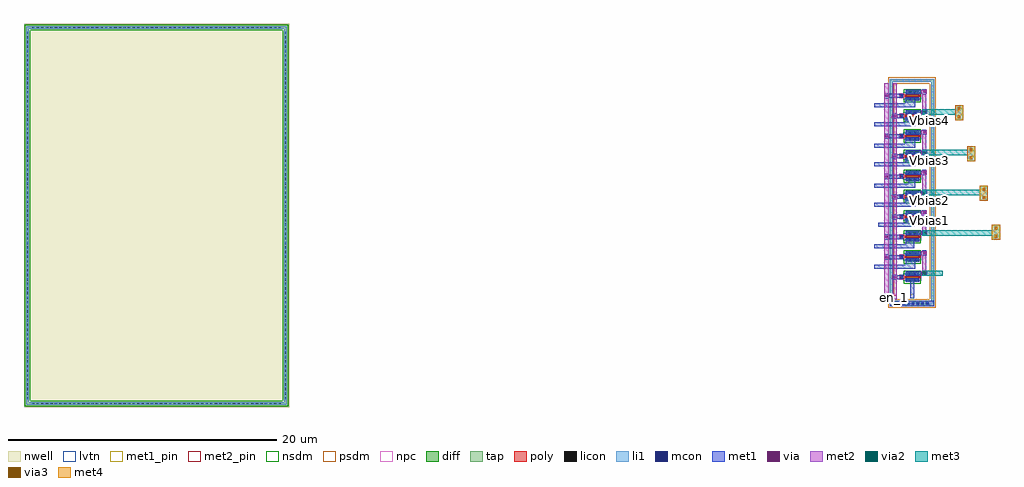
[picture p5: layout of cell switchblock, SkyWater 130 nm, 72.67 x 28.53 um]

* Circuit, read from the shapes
.subckt switchblock Vbias1 Vbias2 Vbias3 Vbias4 beta en_1 en_2
XM1 n1 en_1 beta VSUBS sky130_fd_pr__nfet_01v8_lvt w=1 l=0.15
XM2 n1 en_2 n2 VSUBS sky130_fd_pr__nfet_01v8_lvt w=1 l=0.15
XM3 n3 en_2 n4 VSUBS sky130_fd_pr__nfet_01v8_lvt w=1 l=0.15
XM4 n3 en_1 Vbias1 VSUBS sky130_fd_pr__nfet_01v8_lvt w=1 l=0.15
XM5 n5 en_1 Vbias2 VSUBS sky130_fd_pr__nfet_01v8_lvt w=1 l=0.15
XM6 n5 en_2 n6 VSUBS sky130_fd_pr__nfet_01v8_lvt w=1 l=0.15
XM7 n7 en_1 Vbias3 VSUBS sky130_fd_pr__nfet_01v8_lvt w=1 l=0.15
XM8 n7 en_2 n8 VSUBS sky130_fd_pr__nfet_01v8_lvt w=1 l=0.15
XM9 n9 en_1 Vbias4 VSUBS sky130_fd_pr__nfet_01v8_lvt w=1 l=0.15
XM10 n9 en_2 n10 VSUBS sky130_fd_pr__nfet_01v8_lvt w=1 l=0.15
.ends

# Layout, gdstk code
from math import pi, radians
import gdstk
lib = gdstk.Library(unit=1e-6, precision=1e-09)
def R(c, l, rs):  # rectangles x0, y0, x1, y1
    for r in rs: c.add(gdstk.rectangle(r[:2], r[2:], *l))
def A(c, l, x, y, w, h, nx, ny, dx, dy):  # array of equal rectangles
    R(c, l, [(x+i*dx, y+j*dy, x+i*dx+w, y+j*dy+h) for i in range(nx) for j in range(ny)])
nwell = (64, 20)
diff = (65, 20)
tap = (65, 44)
poly = (66, 20)
licon = (66, 44)
li1 = (67, 20)
mcon = (67, 44)
met1_pin = (68, 16)
met1 = (68, 20)
via = (68, 44)
met2_pin = (69, 16)
met2 = (69, 20)
via2 = (69, 44)
met3 = (70, 20)
via3 = (70, 44)
met4 = (71, 20)
nsdm = (93, 44)
psdm = (94, 20)
npc = (95, 20)
lvtn = (125, 44)

sky130_fd_pr__nfet_01v8_ = lib.new_cell('sky130_fd_pr__nfet_01v8_lvt_6DE3T6')
R(sky130_fd_pr__nfet_01v8_, diff, [(-0.365,-0.655,0.365,0.345)])
R(sky130_fd_pr__nfet_01v8_, poly, [(-0.075,-0.785,0.075,0.455), (-0.165,0.455,0.165,0.785)])
A(sky130_fd_pr__nfet_01v8_, licon, -0.305, -0.58, 0.17, 0.17, 1, 3, 0, 0.34)
A(sky130_fd_pr__nfet_01v8_, licon, 0.135, -0.58, 0.17, 0.17, 1, 3, 0, 0.34)
R(sky130_fd_pr__nfet_01v8_, licon, [(-0.085,0.535,0.085,0.705)])
R(sky130_fd_pr__nfet_01v8_, li1, [(-0.305,-0.675,-0.135,0.365), (0.135,-0.675,0.305,0.365), (-0.165,0.535,0.165,0.705)])
R(sky130_fd_pr__nfet_01v8_, mcon, [(-0.305,-0.42,-0.135,-0.25), (0.135,-0.42,0.305,-0.25), (-0.305,-0.06,-0.135,0.11), (0.135,-0.06,0.305,0.11), (-0.085,0.535,0.085,0.705)])
R(sky130_fd_pr__nfet_01v8_, met1, [(-0.335,-0.655,-0.105,0.345), (0.105,-0.655,0.335,0.345), (-0.145,0.505,0.145,0.735)])
R(sky130_fd_pr__nfet_01v8_, nsdm, [(-0.49,-0.78,0.49,0.47)])
R(sky130_fd_pr__nfet_01v8_, npc, [(-0.185,0.435,0.185,0.805)])
R(sky130_fd_pr__nfet_01v8_, lvtn, [(-0.255,-0.835,0.255,0.525)])

switchblock = lib.new_cell('switchblock')
R(switchblock, nwell, [(-64.965,-22.915,-45.235,5.615)])
R(switchblock, tap, [(-64.785,-22.735,-45.415,-22.565), (-64.785,-22.565,-64.615,5.265), (-45.585,-22.565,-45.415,5.265), (-0.5,-15.4,2.8,-15), (-0.5,-15,-0.3,1.3), (2.6,-15,2.8,1.3), (-0.5,1.3,2.8,1.5), (-64.785,5.265,-45.415,5.435)])
A(switchblock, licon, -64.365, -22.735, 0.17, 0.17, 55, 2, 0.34, 28)
A(switchblock, licon, -64.785, -22.335, 0.17, 0.17, 1, 81, 0, 0.34)
A(switchblock, licon, -45.585, -22.335, 0.17, 0.17, 1, 81, 0, 0.34)
A(switchblock, licon, -0.225, -15.285, 0.17, 0.17, 8, 1, 0.34, 0)
R(switchblock, li1, [(-64.785,-22.735,-45.415,-22.565), (-64.785,-22.565,-64.615,5.265), (-45.585,-22.565,-45.415,5.265), (-0.5,-15.4,2.8,-15), (-0.5,-15,-0.3,1.3), (2.6,-15,2.8,1.3), (-0.5,1.3,2.8,1.5), (-64.785,5.265,-45.415,5.435)])
A(switchblock, mcon, -0.295, -15.285, 0.17, 0.17, 8, 1, 0.36, 0)
A(switchblock, met1_pin, 2.3, -7.7, 0.3, 0.3, 1, 3, 0, 3)
R(switchblock, met1_pin, [(1,-14.8,1.3,-14.5), (2.3,-9.2,2.6,-8.9)])
A(switchblock, met1, 0.7, -13.1, 1.5, 0.3, 1, 10, 0, 1.5)
A(switchblock, met1, 0.65, -7.7, 1.95, 0.3, 1, 3, 0, 3)
A(switchblock, met1, -0.3, -7.4, 0.8, 0.3, 1, 3, 0, 3)
A(switchblock, met1, -0.9, -5.9, 1.4, 0.3, 1, 3, 0, 3)
R(switchblock, met1, [(-0.5,-15.4,2.8,-15), (1,-14.8,1.3,-13.4), (-0.3,-13.45,0,-13.4), (-0.3,-13.4,0.5,-13.1), (1.9,-13.15,2.2,-13.1), (-0.3,-13.1,0,-13.05), (1.9,-12.8,2.2,-12.75), (-1.65,-12.6,1.4,-12.3), (0.7,-12.3,1.4,-11.9), (-0.9,-11.95,-0.6,-11.9), (-0.9,-11.9,0.5,-11.6), (1.9,-11.65,2.2,-11.6), (-0.9,-11.6,-0.6,-11.55), (1.9,-11.3,2.2,-11.25), (-1.65,-11.1,1.3,-10.8), (0.7,-10.8,1.3,-10.4), (-0.9,-10.45,-0.6,-10.4), (-0.9,-10.4,0.5,-10.1), (1.9,-10.15,2.2,-10.1), (-0.9,-10.1,-0.6,-10.05), (1.9,-9.8,2.2,-9.75), (-1.35,-9.5,1.35,-9.2), (0.65,-9.2,2.6,-8.9), (-0.3,-8.95,0,-8.9), (-0.3,-8.9,0.5,-8.6), (0.65,-8.9,0.95,-8.85), (1.9,-8.65,2.2,-8.6), (-0.3,-8.6,0,-8.55), (1.9,-8.3,2.2,-8.25), (-1.65,-8,1.4,-7.7), (-0.3,-7.45,0,-7.4), (0.65,-7.4,1,-7.35), (1.9,-7.15,2.2,-7.1), (-0.3,-7.1,0,-7.05), (1.9,-6.8,2.2,-6.75), (-1.65,-6.6,1.4,-6.3), (0.9,-6.3,1.4,-5.9), (-0.9,-5.95,-0.6,-5.9), (1.9,-5.65,2.2,-5.6), (-0.9,-5.6,-0.6,-5.55), (1.9,-5.3,2.2,-5.25), (-1.65,-5,1.4,-4.7), (-0.3,-4.45,0,-4.4), (0.65,-4.4,0.8,-4.35), (1.9,-4.15,2.2,-4.1), (-0.3,-4.1,0,-4.05), (1.9,-3.8,2.2,-3.75), (-1.65,-3.6,1.4,-3.3), (0.65,-3.3,1.4,-2.9), (-0.9,-2.95,-0.6,-2.9), (0.65,-2.9,0.9,-2.85), (1.9,-2.65,2.2,-2.6), (-0.9,-2.6,-0.6,-2.55), (1.9,-2.3,2.2,-2.25), (-1.65,-2,1.4,-1.7), (-0.3,-1.45,0,-1.4), (0.65,-1.4,1.4,-1.35), (1.9,-1.15,2.2,-1.1), (-0.3,-1.1,0,-1.05), (1.9,-0.8,2.2,-0.75), (-1.65,-0.6,1.4,-0.3), (0.65,-0.3,1.4,0.15), (-0.9,0.05,-0.6,0.1), (1.9,0.35,2.2,0.4), (-0.9,0.4,-0.6,0.45), (1.9,0.7,2.2,0.75)])
A(switchblock, via, 1.975, -13.025, 0.15, 0.15, 1, 10, 0, 1.5)
A(switchblock, via, -0.225, -7.325, 0.15, 0.15, 1, 3, 0, 3)
A(switchblock, via, -0.825, -5.825, 0.15, 0.15, 1, 3, 0, 3)
R(switchblock, via, [(-0.225,-13.325,-0.075,-13.175), (-0.825,-11.825,-0.675,-11.675), (-0.825,-10.325,-0.675,-10.175), (-0.225,-8.825,-0.075,-8.675)])
R(switchblock, met2_pin, [(-0.9,-14.9,-0.6,-14.6), (-0.3,-14.9,0,-14.6)])
A(switchblock, met2, 1.85, -13.1, 0.45, 0.3, 1, 5, 0, 3)
A(switchblock, met2, 1.9, -12.75, 0.3, 1.15, 1, 5, 0, 3)
A(switchblock, met2, 1.85, -11.6, 0.4, 0.3, 1, 5, 0, 3)
A(switchblock, met2, -0.35, -7.4, 0.4, 0.3, 1, 3, 0, 3)
A(switchblock, met2, -0.9, -5.9, 0.35, 0.3, 1, 3, 0, 3)
R(switchblock, met2, [(-0.9,-14.9,-0.6,-11.9), (-0.3,-14.9,0,-13.4), (-0.35,-13.4,0.05,-13.1), (1.9,-13.15,2.3,-13.1), (-0.3,-13.1,0,-8.9), (1.9,-12.8,2.3,-12.75), (-0.9,-11.9,-0.55,-11.6), (-0.9,-11.6,-0.6,-10.4), (-0.9,-10.4,-0.55,-10.1), (1.9,-10.15,2.3,-10.1), (-0.9,-10.1,-0.6,-5.9), (1.9,-9.8,2.3,-9.75), (-0.35,-8.9,0.05,-8.6), (-0.3,-8.6,0,-7.4), (1.9,-7.15,2.3,-7.1), (-0.3,-7.1,0,-4.4), (1.9,-6.8,2.3,-6.75), (-0.9,-5.6,-0.6,-2.9), (1.9,-4.15,2.3,-4.1), (-0.3,-4.1,0,-1.4), (1.9,-3.8,2.3,-3.75), (-0.9,-2.6,-0.6,0.1), (1.9,-1.15,2.3,-1.1), (-0.3,-1.1,0,1.2), (1.9,-0.8,2.3,-0.75), (-0.9,0.4,-0.6,1.2)])
A(switchblock, via2, 2, -13.05, 0.2, 0.2, 1, 5, 0, 3)
R(switchblock, met3, [(1.9,-13.15,3.45,-12.75), (7.1,-10.45,7.7,-10.15), (1.9,-10.15,7.7,-9.75), (7.1,-9.75,7.7,-9.35), (6.2,-7.55,6.8,-7.15), (1.9,-7.15,6.8,-6.75), (6.2,-6.75,6.8,-6.45), (5.25,-4.6,5.85,-4.15), (1.9,-4.15,5.85,-3.75), (5.25,-3.75,5.85,-3.5), (4.35,-1.55,4.95,-1.15), (1.9,-1.15,4.95,-0.75), (4.35,-0.75,4.95,-0.45)])
R(switchblock, via3, [(7.3,-10.3,7.5,-10.1), (7.3,-9.7,7.5,-9.5), (6.4,-7.4,6.6,-7.2), (6.4,-6.8,6.6,-6.6), (5.45,-4.45,5.65,-4.25), (5.45,-3.85,5.65,-3.65), (4.55,-1.4,4.75,-1.2), (4.55,-0.8,4.75,-0.6)])
R(switchblock, met4, [(7.1,-10.45,7.7,-9.35), (6.2,-7.55,6.8,-6.45), (5.25,-4.6,5.85,-3.5), (4.35,-1.55,4.95,-0.45)])
R(switchblock, nsdm, [(-64.91,-22.86,-45.29,-22.44), (-64.91,-22.44,-64.49,5.14), (-45.71,-22.44,-45.29,5.14), (-64.91,5.14,-45.29,5.56)])
R(switchblock, psdm, [(-0.625,-15.525,2.925,-14.875), (-0.625,-14.875,-0.175,1.175), (2.475,-14.875,2.925,1.175), (-0.625,1.175,2.925,1.625)])
switchblock.add(gdstk.Reference(sky130_fd_pr__nfet_01v8_, (1.015,-13.235), rotation=pi/2))
switchblock.add(gdstk.Reference(sky130_fd_pr__nfet_01v8_, (1.015,-11.735), rotation=pi/2))
switchblock.add(gdstk.Reference(sky130_fd_pr__nfet_01v8_, (1.015,-10.235), rotation=pi/2))
switchblock.add(gdstk.Reference(sky130_fd_pr__nfet_01v8_, (1.015,-8.735), rotation=pi/2))
switchblock.add(gdstk.Reference(sky130_fd_pr__nfet_01v8_, (1.015,-7.235), rotation=pi/2))
switchblock.add(gdstk.Reference(sky130_fd_pr__nfet_01v8_, (1.015,-5.735), rotation=pi/2))
switchblock.add(gdstk.Reference(sky130_fd_pr__nfet_01v8_, (1.015,-4.235), rotation=pi/2))
switchblock.add(gdstk.Reference(sky130_fd_pr__nfet_01v8_, (1.015,-2.735), rotation=pi/2))
switchblock.add(gdstk.Reference(sky130_fd_pr__nfet_01v8_, (1.015,-1.235), rotation=pi/2))
switchblock.add(gdstk.Reference(sky130_fd_pr__nfet_01v8_, (1.015,0.265), rotation=pi/2))
switchblock.add(gdstk.Label('en_1', (-0.15,-14.75), layer=69, texttype=5))
switchblock.add(gdstk.Label('en_2', (-0.75,-14.75), layer=69, texttype=5))
switchblock.add(gdstk.Label('beta', (1.15,-14.65), layer=68, texttype=5))
switchblock.add(gdstk.Label('Vbias1', (2.45,-9.05), layer=68, texttype=5))
switchblock.add(gdstk.Label('Vbias2', (2.45,-7.55), layer=68, texttype=5))
switchblock.add(gdstk.Label('Vbias3', (2.45,-4.55), layer=68, texttype=5))
switchblock.add(gdstk.Label('Vbias4', (2.45,-1.55), layer=68, texttype=5))

lib.write_gds('switchblock.gds')
